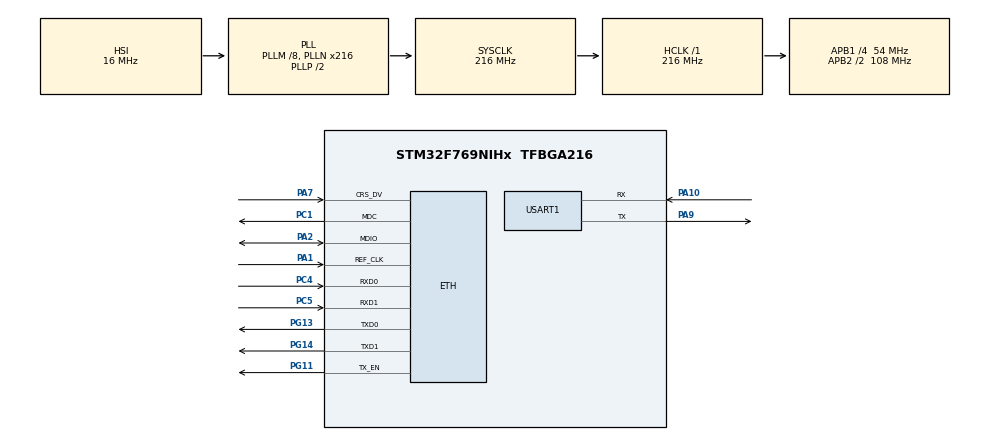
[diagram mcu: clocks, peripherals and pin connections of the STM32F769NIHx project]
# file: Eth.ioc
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CORTEX_M7.default_mode_Activation=1
ETH.MediaInterface=HAL_ETH_RMII_MODE
FREERTOS.Tasks01=defaultTask,0,256,StartDefaultTask,Default,NULL,Dynamic,NULL,NULL
Mcu.Family=STM32F7
Mcu.Name=STM32F769NIHx
Mcu.Package=TFBGA216
NVIC.ETH_IRQn=true\:5\:0\:false\:false\:true\:true\:true\:true\:true
NVIC.ETH_WKUP_IRQn=true\:5\:0\:false\:false\:true\:true\:true\:true\:true
NVIC.PriorityGroup=NVIC_PRIORITYGROUP_4
NVIC.USART1_IRQn=true\:5\:0\:false\:false\:true\:true\:true\:true\:true
PA1.Mode=RMII
PA1.Signal=ETH_REF_CLK
PA10.Mode=Asynchronous
PA10.Signal=USART1_RX
PA2.Mode=RMII
PA2.Signal=ETH_MDIO
PA7.Mode=RMII
PA7.Signal=ETH_CRS_DV
PA9.Mode=Asynchronous
PA9.Signal=USART1_TX
PC1.Mode=RMII
PC1.Signal=ETH_MDC
PC4.Mode=RMII
PC4.Signal=ETH_RXD0
PC5.Mode=RMII
PC5.Signal=ETH_RXD1
PG11.Mode=RMII
PG11.Signal=ETH_TX_EN
PG13.Mode=RMII
PG13.Signal=ETH_TXD0
PG14.Mode=RMII
PG14.Signal=ETH_TXD1
ProjectManager.HeapSize=0x200
ProjectManager.StackSize=0x400
ProjectManager.TargetToolchain=STM32CubeIDE
RCC.AHBFreq_Value=216000000
RCC.APB1CLKDivider=RCC_HCLK_DIV4
RCC.APB1Freq_Value=54000000
RCC.APB1TimFreq_Value=108000000
RCC.APB2CLKDivider=RCC_HCLK_DIV2
RCC.APB2Freq_Value=108000000
RCC.APB2TimFreq_Value=216000000
RCC.CortexFreq_Value=216000000
RCC.HCLKFreq_Value=216000000
RCC.HSE_VALUE=25000000
RCC.HSI_VALUE=16000000
RCC.LSE_VALUE=32768
RCC.PLLM=8
RCC.PLLN=216
RCC.SYSCLKFreq_VALUE=216000000
RCC.SYSCLKSource=RCC_SYSCLKSOURCE_PLLCLK
RCC.USBFreq_Value=216000000
RCC.VCOOutputFreq_Value=432000000
USART1.VirtualMode-Asynchronous=VM_ASYNC
VP_FREERTOS_VS_CMSIS_V1.Mode=CMSIS_V1
board=custom

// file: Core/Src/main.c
/* USER CODE BEGIN Header */
/**
  ******************************************************************************
  * @file           : main.c
  * @brief          : Main program body
  ******************************************************************************
  * @attention
  *
  * Copyright (c) 2025 STMicroelectronics.
  * All rights reserved.
  *
  * This software is licensed under terms that can be found in the LICENSE file
  * in the root directory of this software component.
  * If no LICENSE file comes with this software, it is provided AS-IS.
  *
  ******************************************************************************
  */
/* USER CODE END Header */
#include "main.h"
#include "string.h"
#include "cmsis_os.h"

/* USER CODE BEGIN Includes */
#include "eth.h"
#include "eth_test.h"
#include "usart_drv.h"
#include "console.h"
/* USER CODE END Includes */

/* USER CODE BEGIN PTD */
typedef osStatus (*INIT_FUNC)(void);
typedef void (*CMD_FUNC)(void);
/* USER CODE END PTD */

#if defined ( __ICCARM__ ) /*!< IAR Compiler */
#pragma location=0x2007c000
ETH_DMADescTypeDef  DMARxDscrTab[ETH_RX_DESC_CNT]; /* Ethernet Rx DMA Descriptors */
#pragma location=0x2007c0a0
ETH_DMADescTypeDef  DMATxDscrTab[ETH_TX_DESC_CNT]; /* Ethernet Tx DMA Descriptors */

#elif defined ( __CC_ARM )  /* MDK ARM Compiler */

__attribute__((at(0x2007c000))) ETH_DMADescTypeDef  DMARxDscrTab[ETH_RX_DESC_CNT]; /* Ethernet Rx DMA Descriptors */
__attribute__((at(0x2007c0a0))) ETH_DMADescTypeDef  DMATxDscrTab[ETH_TX_DESC_CNT]; /* Ethernet Tx DMA Descriptors */

#elif defined ( __GNUC__ ) /* GNU Compiler */

ETH_DMADescTypeDef DMARxDscrTab[ETH_RX_DESC_CNT] __attribute__((section(".RxDecripSection"))); /* Ethernet Rx DMA Descriptors */
ETH_DMADescTypeDef DMATxDscrTab[ETH_TX_DESC_CNT] __attribute__((section(".TxDecripSection")));   /* Ethernet Tx DMA Descriptors */
#endif

ETH_TxPacketConfig TxConfig;

ETH_HandleTypeDef heth;

UART_HandleTypeDef huart1;

osThreadId defaultTaskHandle;
/* USER CODE BEGIN PV */
static const INIT_FUNC init_func[] = {
	// peri
	eth_init,
	// drv
	usart_drv_init,
	// app
	console_init,
};
static const CMD_FUNC cmd_func[] = {
	eth_test_set_cmd,
};
/* USER CODE END PV */

void SystemClock_Config(void);
static void MPU_Config(void);
static void MX_GPIO_Init(void);
static void MX_USART1_UART_Init(void);
static void MX_ETH_Init(void);
void StartDefaultTask(void const * argument);

/* USER CODE BEGIN 0 */
static ETH_HandleTypeDef tmp_heth;
extern void HAL_ETH_MspInit(ETH_HandleTypeDef* ethHandle);
static void tmp_mx_eth_init(void)
{
	tmp_heth.Instance = ETH;

	HAL_ETH_MspInit(&tmp_heth);
}
/* USER CODE END 0 */

int main(void)
{

  /* USER CODE BEGIN 1 */
	uint8_t i, size;
  /* USER CODE END 1 */

  /* MPU Configuration--------------------------------------------------------*/
  MPU_Config();

  /* MCU Configuration--------------------------------------------------------*/

  /* Reset of all peripherals, Initializes the Flash interface and the Systick. */
  HAL_Init();

  /* Configure the system clock */
  SystemClock_Config();

  /* Initialize all configured peripherals */
  MX_GPIO_Init();
  MX_USART1_UART_Init();
  //MX_ETH_Init();
  /* USER CODE BEGIN 2 */
	tmp_mx_eth_init();
	// 初期化
	size = sizeof(init_func)/sizeof(init_func[0]);
	for (i = 0; i < size; i++) {
		init_func[i]();
	}
	// コマンド
	size = sizeof(cmd_func)/sizeof(cmd_func[0]);
	for (i = 0; i < size; i++) {
		cmd_func[i]();
	}
  /* USER CODE END 2 */

  /* Create the thread(s) */
  /* definition and creation of defaultTask */
  osThreadDef(defaultTask, StartDefaultTask, osPriorityNormal, 0, 256);
  defaultTaskHandle = osThreadCreate(osThread(defaultTask), NULL);

  /* Start scheduler */
  osKernelStart();

  /* We should never get here as control is now taken by the scheduler */

  /* Infinite loop */
  while (1)
  {

  }
}

void SystemClock_Config(void)
{
  RCC_OscInitTypeDef RCC_OscInitStruct = {0};
  RCC_ClkInitTypeDef RCC_ClkInitStruct = {0};

  /** Configure the main internal regulator output voltage
  */
  __HAL_RCC_PWR_CLK_ENABLE();
  __HAL_PWR_VOLTAGESCALING_CONFIG(PWR_REGULATOR_VOLTAGE_SCALE1);

  /** Initializes the RCC Oscillators according to the specified parameters
  * in the RCC_OscInitTypeDef structure.
  */
  RCC_OscInitStruct.OscillatorType = RCC_OSCILLATORTYPE_HSI;
  RCC_OscInitStruct.HSIState = RCC_HSI_ON;
  RCC_OscInitStruct.HSICalibrationValue = RCC_HSICALIBRATION_DEFAULT;
  RCC_OscInitStruct.PLL.PLLState = RCC_PLL_ON;
  RCC_OscInitStruct.PLL.PLLSource = RCC_PLLSOURCE_HSI;
  RCC_OscInitStruct.PLL.PLLM = 8;
  RCC_OscInitStruct.PLL.PLLN = 216;
  RCC_OscInitStruct.PLL.PLLP = RCC_PLLP_DIV2;
  RCC_OscInitStruct.PLL.PLLQ = 2;
  RCC_OscInitStruct.PLL.PLLR = 2;
  if (HAL_RCC_OscConfig(&RCC_OscInitStruct) != HAL_OK)
  {
    Error_Handler();
  }

  /** Activate the Over-Drive mode
  */
  if (HAL_PWREx_EnableOverDrive() != HAL_OK)
  {
    Error_Handler();
  }

  /** Initializes the CPU, AHB and APB buses clocks
  */
  RCC_ClkInitStruct.ClockType = RCC_CLOCKTYPE_HCLK|RCC_CLOCKTYPE_SYSCLK
                              |RCC_CLOCKTYPE_PCLK1|RCC_CLOCKTYPE_PCLK2;
  RCC_ClkInitStruct.SYSCLKSource = RCC_SYSCLKSOURCE_PLLCLK;
  RCC_ClkInitStruct.AHBCLKDivider = RCC_SYSCLK_DIV1;
  RCC_ClkInitStruct.APB1CLKDivider = RCC_HCLK_DIV4;
  RCC_ClkInitStruct.APB2CLKDivider = RCC_HCLK_DIV2;

  if (HAL_RCC_ClockConfig(&RCC_ClkInitStruct, FLASH_LATENCY_7) != HAL_OK)
  {
    Error_Handler();
  }
}

static void MX_ETH_Init(void)
{

   static uint8_t MACAddr[6];

  heth.Instance = ETH;
  MACAddr[0] = 0x00;
  MACAddr[1] = 0x80;
  MACAddr[2] = 0xE1;
  MACAddr[3] = 0x00;
  MACAddr[4] = 0x00;
  MACAddr[5] = 0x00;
  heth.Init.MACAddr = &MACAddr[0];
  heth.Init.MediaInterface = HAL_ETH_RMII_MODE;
  heth.Init.TxDesc = DMATxDscrTab;
  heth.Init.RxDesc = DMARxDscrTab;
  heth.Init.RxBuffLen = 1524;

  if (HAL_ETH_Init(&heth) != HAL_OK)
  {
    Error_Handler();
  }

  memset(&TxConfig, 0 , sizeof(ETH_TxPacketConfig));
  TxConfig.Attributes = ETH_TX_PACKETS_FEATURES_CSUM | ETH_TX_PACKETS_FEATURES_CRCPAD;
  TxConfig.ChecksumCtrl = ETH_CHECKSUM_IPHDR_PAYLOAD_INSERT_PHDR_CALC;
  TxConfig.CRCPadCtrl = ETH_CRC_PAD_INSERT;

}

static void MX_USART1_UART_Init(void)
{

  huart1.Instance = USART1;
  huart1.Init.BaudRate = 115200;
  huart1.Init.WordLength = UART_WORDLENGTH_8B;
  huart1.Init.StopBits = UART_STOPBITS_1;
  huart1.Init.Parity = UART_PARITY_NONE;
  huart1.Init.Mode = UART_MODE_TX_RX;
  huart1.Init.HwFlowCtl = UART_HWCONTROL_NONE;
  huart1.Init.OverSampling = UART_OVERSAMPLING_16;
  huart1.Init.OneBitSampling = UART_ONE_BIT_SAMPLE_DISABLE;
  huart1.AdvancedInit.AdvFeatureInit = UART_ADVFEATURE_NO_INIT;
  if (HAL_UART_Init(&huart1) != HAL_OK)
  {
    Error_Handler();
  }

}

static void MX_GPIO_Init(void)
{

  /* GPIO Ports Clock Enable */
  __HAL_RCC_GPIOG_CLK_ENABLE();
  __HAL_RCC_GPIOA_CLK_ENABLE();
  __HAL_RCC_GPIOC_CLK_ENABLE();

}

void StartDefaultTask(void const * argument)
{
  for(;;)
  {
    osDelay(1);
  }
}

 /* MPU Configuration */

void MPU_Config(void)
{
  MPU_Region_InitTypeDef MPU_InitStruct = {0};

  /* Disables the MPU */
  HAL_MPU_Disable();

  /** Initializes and configures the Region and the memory to be protected
  */
  MPU_InitStruct.Enable = MPU_REGION_ENABLE;
  MPU_InitStruct.Number = MPU_REGION_NUMBER0;
  MPU_InitStruct.BaseAddress = 0x0;
  MPU_InitStruct.Size = MPU_REGION_SIZE_4GB;
  MPU_InitStruct.SubRegionDisable = 0x87;
  MPU_InitStruct.TypeExtField = MPU_TEX_LEVEL0;
  MPU_InitStruct.AccessPermission = MPU_REGION_NO_ACCESS;
  MPU_InitStruct.DisableExec = MPU_INSTRUCTION_ACCESS_DISABLE;
  MPU_InitStruct.IsShareable = MPU_ACCESS_SHAREABLE;
  MPU_InitStruct.IsCacheable = MPU_ACCESS_NOT_CACHEABLE;
  MPU_InitStruct.IsBufferable = MPU_ACCESS_NOT_BUFFERABLE;

  HAL_MPU_ConfigRegion(&MPU_InitStruct);
  /* Enables the MPU */
  HAL_MPU_Enable(MPU_PRIVILEGED_DEFAULT);

}

void Error_Handler(void)
{
  __disable_irq();
  while (1)
  {
  }
}
